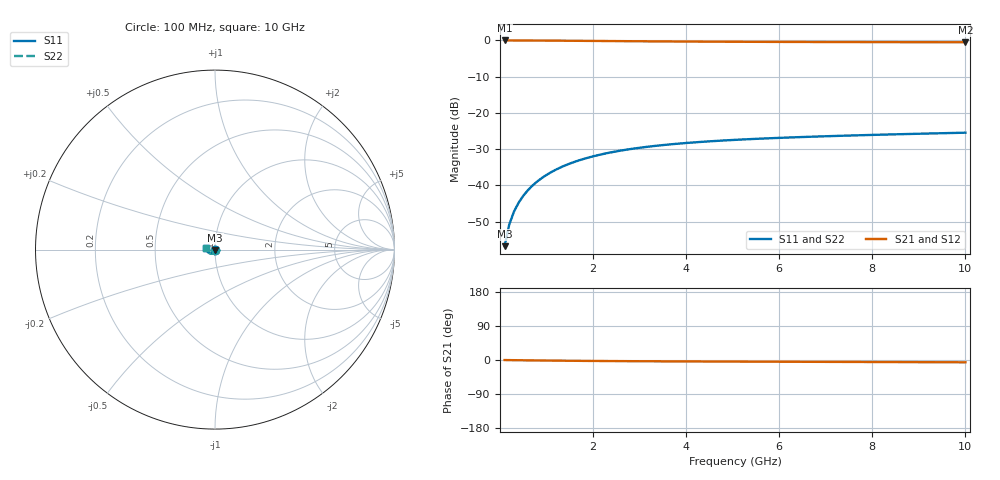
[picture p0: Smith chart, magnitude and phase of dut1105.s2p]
! Touchstone file exported from HFSS 2024.1.0
!  File:  C:/UserFiles/LocalFiles/RDL_TSV_Batchsim/temp_TSV1_1105_1780067674.aedt
!  Generated:  11:21:07 PM May 29, 2026
!  Design:  TSV1
!  Project:  temp_TSV1_1105_1780067674
!  Setup:  Setup1
!  Solution:  Sweep
! Variables:
!  dtsv = 10.47um
!  hbump = 3um
!  htsv = 95.05um
!  lrdl = 252.1521522um
!  p = 40
!  p1 = 57.04um
!  t = 500um
!  trdl = 3um
!  wrdl = 24.89489489um
# GHz S MA R 50.000000
! Terminal data exported
! Port[1] = TSV22_T1
! Port[2] = TSV22_T2
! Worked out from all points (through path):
!   100 points, 100 MHz to 10 GHz, reference 50 ohm
!   highest |S21| = 0.00 dB at 100 MHz (marker M1); lowest = -0.5 dB at 10 GHz (marker M2)
!   lowest |S11| = -56.8 dB at 100 MHz (marker M3), VSWR 1.00, Z = 50 - j0.144 ohm
!   |S11| at or under -10 dB: start of sweep to end of sweep
!   |S22| runs from -56.8 to -25.5 dB; largest |S21 - S12| = 3.2e-15
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0.1  0.001447 -86.2  0.9998 -0.2  0.9998 -0.2  0.001447 -86.2
! Gamma 0 0 0 0
! Port Impedance 50 0 50 0
0.2  0.002882 -90.9  0.9996 -0.3  0.9996 -0.3  0.002882 -90.9
0.3  0.004317 -93.8  0.9994 -0.5  0.9994 -0.5  0.004317 -93.8
0.4  0.005745 -96.3  0.999 -0.6  0.999 -0.6  0.005745 -96.3
0.5  0.007161 -98.5  0.9985 -0.7  0.9985 -0.7  0.007161 -98.5
0.6  0.008562 -100.7  0.998 -0.9  0.998 -0.9  0.008562 -100.7
0.7  0.009943 -102.8  0.9974 -1.0  0.9974 -1.0  0.009943 -102.8
0.8  0.0113 -104.8  0.9967 -1.2  0.9967 -1.2  0.0113 -104.8
0.9  0.01263 -106.8  0.9959 -1.3  0.9959 -1.3  0.01263 -106.8
1.1  0.01521 -110.7  0.9942 -1.5  0.9942 -1.5  0.01521 -110.7
1.4  0.01883 -116.2  0.9913 -1.9  0.9913 -1.9  0.01883 -116.2
1.6  0.02107 -119.7  0.9892 -2.1  0.9892 -2.1  0.02107 -119.7
1.8  0.02317 -123.1  0.9871 -2.3  0.9871 -2.3  0.02317 -123.1
2.1  0.02606 -127.9  0.9838 -2.6  0.9838 -2.6  0.02606 -127.9
2.5  0.02944 -133.7  0.9794 -2.9  0.9794 -2.9  0.02944 -133.7
2.9  0.03234 -139.1  0.9754 -3.2  0.9754 -3.2  0.03234 -139.1
3.4  0.0354 -145.1  0.9707 -3.4  0.9707 -3.4  0.0354 -145.1
4.2  0.03928 -153.5  0.9645 -3.8  0.9645 -3.8  0.03928 -153.5
5.1  0.0426 -161.5  0.959 -4.2  0.959 -4.2  0.0426 -161.5
6.7  0.04693 -173.1  0.9522 -4.8  0.9522 -4.8  0.04693 -173.1
8.4  0.05044 177.1  0.9476 -5.5  0.9476 -5.5  0.05044 177.1
10  0.05331 169.3  0.9447 -6.1  0.9447 -6.1  0.05331 169.3
